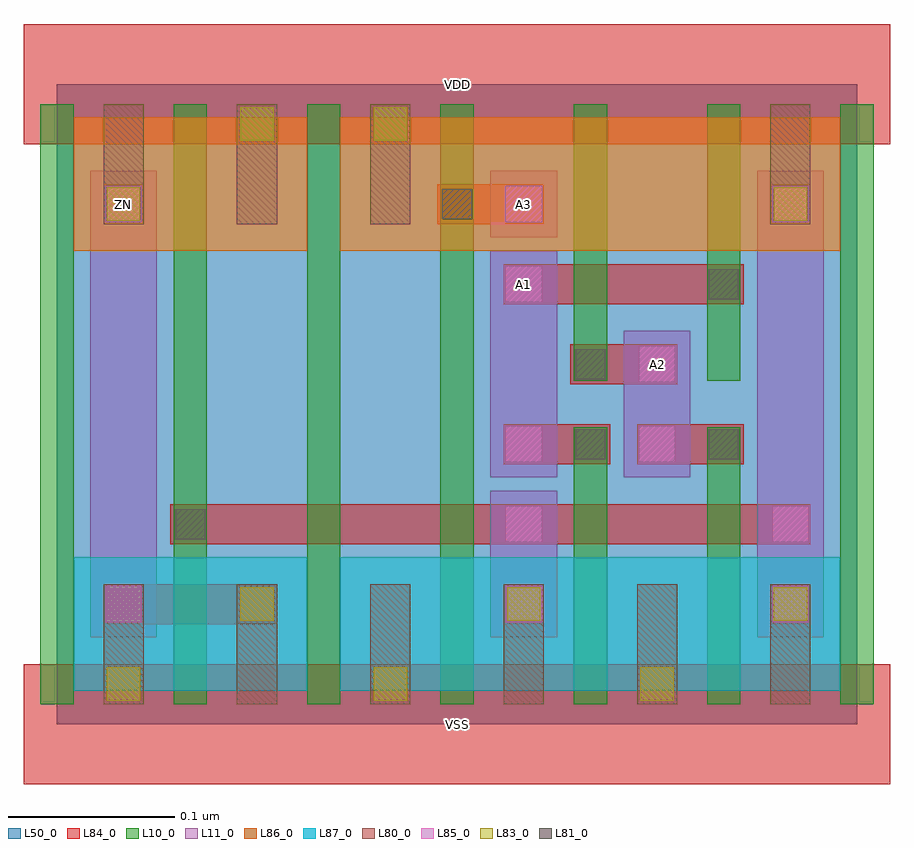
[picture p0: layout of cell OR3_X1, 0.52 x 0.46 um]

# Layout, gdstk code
import gdstk
lib = gdstk.Library(unit=1e-6, precision=1e-09)
def R(c, l, rs):  # rectangles x0, y0, x1, y1
    for r in rs: c.add(gdstk.rectangle(r[:2], r[2:], *l))
def A(c, l, x, y, w, h, nx, ny, dx, dy):  # array of equal rectangles
    R(c, l, [(x+i*dx, y+j*dy, x+i*dx+w, y+j*dy+h) for i in range(nx) for j in range(ny)])
L10_0 = (10, 0)
L11_0 = (11, 0)
L50_0 = (50, 0)
L80_0 = (80, 0)
L81_0 = (81, 0)
L83_0 = (83, 0)
L84_0 = (84, 0)
L85_0 = (85, 0)
L86_0 = (86, 0)
L87_0 = (87, 0)

or3_x1 = lib.new_cell('OR3_X1')
A(or3_x1, L10_0, -0.01, 0.012, 0.02, 0.36, 4, 1, 0.08, 0)
R(or3_x1, L10_0, [(0.31,0.012,0.33,0.178), (0.39,0.012,0.41,0.178), (0.47,0.012,0.49,0.372), (0.31,0.206,0.33,0.372), (0.39,0.206,0.41,0.372)])
R(or3_x1, L11_0, [(0.02,0.052,0.06,0.332), (0.26,0.052,0.3,0.14), (0.42,0.052,0.46,0.332), (0.26,0.148,0.3,0.284), (0.34,0.148,0.38,0.236), (0.26,0.292,0.3,0.332)])
R(or3_x1, L50_0, [(0,0,0.48,0.384)])
A(or3_x1, L80_0, 0.028, 0.012, 0.024, 0.072, 6, 1, 0.08, 0)
A(or3_x1, L80_0, 0.028, 0.3, 0.024, 0.072, 3, 1, 0.08, 0)
R(or3_x1, L80_0, [(0.428,0.3,0.452,0.372)])
R(or3_x1, L81_0, [(0.071,0.111,0.089,0.129), (0.311,0.159,0.329,0.177), (0.391,0.159,0.409,0.177), (0.311,0.207,0.329,0.225), (0.391,0.255,0.409,0.273), (0.231,0.303,0.249,0.321)])
A(or3_x1, L83_0, 0.03, 0.014, 0.02, 0.02, 3, 1, 0.16, 0)
A(or3_x1, L83_0, 0.11, 0.062, 0.02, 0.02, 3, 1, 0.16, 0)
R(or3_x1, L83_0, [(0.03,0.302,0.05,0.322), (0.43,0.302,0.45,0.322), (0.11,0.35,0.13,0.37), (0.19,0.35,0.21,0.37)])
R(or3_x1, L84_0, [(-0.02,-0.036,0.5,0.036), (0.028,0.06,0.132,0.084), (0.268,0.06,0.292,0.084), (0.428,0.06,0.452,0.084), (0.068,0.108,0.452,0.132), (0.268,0.156,0.332,0.18), (0.348,0.156,0.412,0.18), (0.308,0.204,0.372,0.228), (0.268,0.252,0.412,0.276), (0.028,0.3,0.052,0.324), (0.228,0.3,0.292,0.324), (0.428,0.3,0.452,0.324), (-0.02,0.348,0.5,0.42)])
A(or3_x1, L85_0, 0.269, 0.061, 0.022, 0.022, 1, 3, 0, 0.048)
R(or3_x1, L85_0, [(0.029,0.061,0.051,0.083), (0.429,0.061,0.451,0.083), (0.429,0.109,0.451,0.131), (0.349,0.157,0.371,0.179), (0.349,0.205,0.371,0.227), (0.269,0.253,0.291,0.275), (0.029,0.301,0.051,0.323), (0.269,0.301,0.291,0.323), (0.429,0.301,0.451,0.323)])
R(or3_x1, L86_0, [(0.01,0.284,0.15,0.364), (0.17,0.284,0.47,0.364)])
R(or3_x1, L87_0, [(0.01,0.02,0.15,0.1), (0.17,0.02,0.47,0.1)])
or3_x1.add(gdstk.Label('VDD', (0.24,0.384), layer=88, texttype=0))
or3_x1.add(gdstk.Label('VSS', (0.24,0), layer=88, texttype=0))
or3_x1.add(gdstk.Label('ZN', (0.04,0.312), layer=31, texttype=0))
or3_x1.add(gdstk.Label('A2', (0.36,0.216), layer=31, texttype=0))
or3_x1.add(gdstk.Label('A1', (0.28,0.264), layer=31, texttype=0))
or3_x1.add(gdstk.Label('A3', (0.28,0.312), layer=31, texttype=0))

lib.write_gds('OR3_X1.gds')
